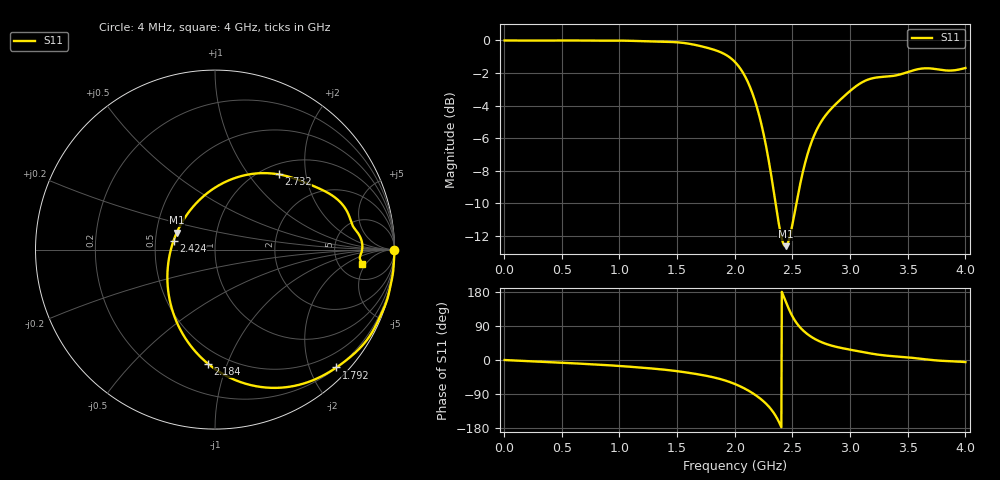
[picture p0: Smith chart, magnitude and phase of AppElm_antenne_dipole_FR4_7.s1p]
! TOUCHSTONE file generated by CST MICROWAVE STUDIO
! Date and time: Thu May 12 15:28:13 2022
! Project name: AppElm_antenne_dipole_FR4.cst
! Parameters = {L=38.8; e=0.035; f=2.45e+09; h=1.6; i=0.8; l1=4.2; lambda=122.449; ls=30; wl=1.7; ws=80}
! Header version: 2018
! Port assignment regex: !\s*Touchstone port\s*([0-9]+)\s*=\s*(CST MWS port|CST DS port)\s*([0-9]+|Zmin|Zmax)\s*\(\"(.*)\"\)(\s*mode\s*([0-9]+))?.*
! Touchstone port assignment:
! Touchstone port 1 = CST MWS port 1 ("")
# GHz S MA R 50
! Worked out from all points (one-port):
!   1000 points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, 4 MHz to 4 GHz, reference 50 ohm
!   lowest |S11| = -12.6 dB at 2.44 GHz (marker M1), VSWR 1.61, Z = 31.9 + j6.44 ohm
!   |S11| at or under -10 dB: 2.354 GHz to 2.535 GHz (181.1 MHz wide, 7.41 % of centre)
!   S11 on the Smith chart (normalised r, x): 4 MHz: open; 1.792 GHz: 0.21, -2.45; 2.184 GHz: 0.40, -0.86; 2.424 GHz: 0.62, +0.06; 2.732 GHz: 1.18, +1.42; 4 GHz: 8.31, -4.03
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0.004  0.9999 -0.1
0.504  1 -7.2
1.004  0.9989 -15.9
1.504  0.9868 -29.6
1.652  0.9698 -36.3
1.792  0.9428 -44.2
1.904  0.9108 -52.9
2.004  0.8569 -63.7
2.1  0.7625 -77.7
2.184  0.6375 -93.4
2.252  0.5116 -109.8
2.312  0.3928 -128.9
2.368  0.2932 -154.6
2.424  0.2363 168.1
2.44  0.2331 155.9
2.468  0.2427 135.3
2.504  0.2766 113.0
2.556  0.3459 89.8
2.608  0.4177 73.7
2.664  0.4854 61.1
2.732  0.5492 49.7
2.836  0.6164 38.2
3.004  0.7014 27.0
3.188  0.7643 16.7
3.504  0.8002 6.8
3.632  0.8203 2.6
3.756  0.8153 -1.3
4  0.8227 -5.5
